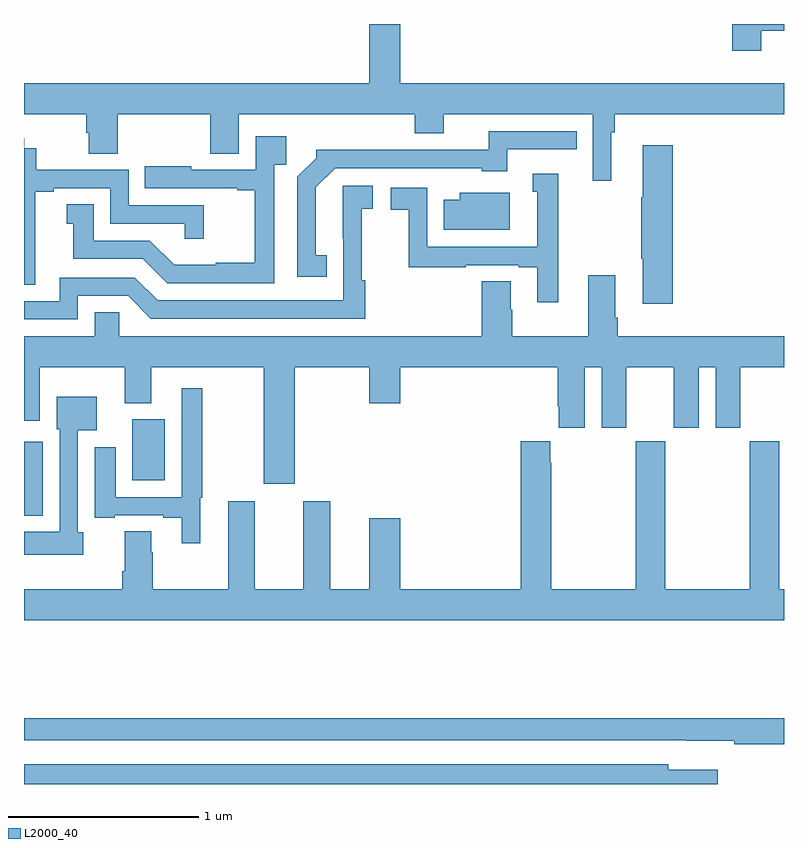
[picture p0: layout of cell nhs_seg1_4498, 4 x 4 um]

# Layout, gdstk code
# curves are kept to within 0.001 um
import gdstk
lib = gdstk.Library(unit=1e-6, precision=1e-09)
def R(c, l, rs):  # rectangles x0, y0, x1, y1
    for r in rs: c.add(gdstk.rectangle(r[:2], r[2:], *l))
def P(c, l, *ps):  # polygons
    for p in ps: c.add(gdstk.Polygon(p, *l))
L2000_40 = (2000, 40)

nhs_seg1_4498 = lib.new_cell('nhs_seg1_4498')
R(nhs_seg1_4498, L2000_40, [(355,557.612,355.099,558.001), (355.571,557.798,355.741,558.118)])
P(nhs_seg1_4498, L2000_40, [(358.09,559.628),(358.109,559.628),(358.109,559.724),(359,559.724),(359,559.888),(356.98,559.888),(356.98,560.199),(356.816,560.199),(356.816,559.888),(355,559.888),(355,559.724),(355.328,559.724),(355.328,559.626),(355.34,559.626),(355.34,559.516),(355.493,559.516),(355.493,559.724),(355.979,559.724),(355.979,559.516),(356.131,559.516),(356.131,559.724),(357.056,559.724),(357.056,559.625),(357.208,559.625),(357.208,559.724),(357.993,559.724),(357.993,559.374),(358.09,559.374)],
  [(358.879,560.163),(359,560.163),(359,560.199),(358.727,560.199),(358.727,560.058),(358.879,560.058)],
  [(356.594,558.983),(356.536,558.983),(356.536,559.339),(356.637,559.44),(357.408,559.44),(357.408,559.424),(357.544,559.424),(357.544,559.539),(357.908,559.539),(357.908,559.635),(357.445,559.635),(357.445,559.536),(356.972,559.536),(356.972,559.538),(356.538,559.538),(356.538,559.493),(356.439,559.394),(356.439,558.87),(356.594,558.87)],
  [(356.316,559.457),(356.381,559.457),(356.381,559.609),(356.22,559.609),(356.22,559.431),(355.879,559.431),(355.879,559.45),(355.636,559.45),(355.636,559.335),(356.123,559.335),(356.123,559.323),(356.215,559.323),(356.215,558.943),(356.009,558.943),(356.009,558.931),(355.79,558.931),(355.662,559.059),(355.366,559.059),(355.366,559.25),(355.226,559.25),(355.226,559.147),(355.259,559.147),(355.259,558.963),(355.626,558.963),(355.755,558.834),(356.316,558.834)],
  [(355.058,558.937),(355.06,558.937),(355.06,559.315),(355.156,559.315),(355.156,559.335),(355.455,559.335),(355.455,559.149),(355.845,559.149),(355.845,559.068),(355.946,559.068),(355.946,559.245),(355.551,559.245),(355.551,559.431),(355.064,559.431),(355.064,559.545),(355.002,559.545),(355.002,559.597),(355,559.597),(355,558.826),(355.058,558.826)],
  [(358.415,559.561),(358.256,559.561),(358.256,559.286),(358.249,559.286),(358.249,558.964),(358.256,558.964),(358.256,558.726),(358.415,558.726)],
  [(357.811,559.411),(357.677,559.411),(357.677,559.317),(357.701,559.317),(357.701,559.026),(357.123,559.026),(357.123,559.338),(356.931,559.338),(356.931,559.222),(357.025,559.222),(357.025,558.918),(357.326,558.918),(357.326,558.93),(357.605,558.93),(357.605,558.918),(357.701,558.918),(357.701,558.735),(357.811,558.735)],
  [(355.284,558.768),(355.548,558.768),(355.668,558.648),(356.795,558.648),(356.795,558.851),(356.778,558.851),(356.778,559.227),(356.836,559.227),(356.836,559.348),(356.678,559.348),(356.679,558.744),(355.704,558.744),(355.584,558.864),(355.188,558.864),(355.188,558.741),(355,558.741),(355,558.645),(355.284,558.645)],
  [(357.556,559.312),(357.293,559.312),(357.293,559.273),(357.208,559.273),(357.208,559.115),(357.556,559.115)],
  [(356.425,558.392),(356.816,558.392),(356.816,558.204),(356.98,558.204),(356.98,558.392),(357.809,558.392),(357.809,558.187),(357.815,558.187),(357.815,558.075),(357.952,558.075),(357.952,558.392),(358.04,558.392),(358.04,558.075),(358.171,558.075),(358.171,558.392),(358.421,558.392),(358.421,558.075),(358.552,558.075),(358.552,558.392),(358.64,558.392),(358.64,558.075),(358.771,558.075),(358.771,558.392),(359,558.392),(359,558.556),(358.124,558.556),(358.124,558.652),(358.111,558.652),(358.111,558.877),(357.971,558.877),(357.971,558.556),(357.57,558.556),(357.57,558.695),(357.562,558.695),(357.562,558.845),(357.41,558.845),(357.41,558.556),(355.5,558.556),(355.5,558.683),(355.373,558.683),(355.373,558.556),(355,558.556),(355,558.111),(355.084,558.111),(355.084,558.392),(355.529,558.392),(355.529,558.203),(355.669,558.203),(355.669,558.392),(356.261,558.392),(356.261,557.778),(356.425,557.778)],
  [(355.927,557.706),(355.939,557.706),(355.939,558.283),(355.83,558.283),(355.83,557.709),(355.483,557.709),(355.483,557.971),(355.373,557.971),(355.373,557.601),(355.477,557.601),(355.477,557.613),(355.733,557.613),(355.733,557.601),(355.829,557.601),(355.829,557.466),(355.927,557.466)],
  [(355.312,557.523),(355.284,557.523),(355.284,558.062),(355.384,558.062),(355.384,558.238),(355.172,558.238),(355.172,558.066),(355.188,558.066),(355.188,557.527),(355,557.527),(355,557.405),(355.312,557.405)],
  [(355.529,557.528),(355.529,557.32),(355.517,557.32),(355.517,557.224),(355,557.224),(355,557.06),(359,557.06),(359,557.224),(358.974,557.224),(358.974,558.004),(358.819,558.004),(358.819,557.224),(358.374,557.224),(358.374,558.004),(358.219,558.004),(358.219,557.224),(357.774,557.224),(357.774,557.891),(357.769,557.891),(357.769,558.004),(357.614,558.004),(357.614,557.224),(356.98,557.224),(356.98,557.599),(356.816,557.599),(356.816,557.224),(356.611,557.224),(356.611,557.686),(356.471,557.686),(356.471,557.224),(356.215,557.224),(356.215,557.686),(356.075,557.686),(356.075,557.224),(355.677,557.224),(355.677,557.42),(355.669,557.42),(355.669,557.528)],
  [(359,556.544),(355,556.544),(355,556.428),(358.486,556.428),(358.486,556.427),(358.738,556.427),(358.738,556.408),(359,556.408)],
  [(358.651,556.273),(358.39,556.273),(358.39,556.302),(355,556.302),(355,556.199),(358.651,556.199)])

lib.write_gds('nhs_seg1_4498.gds')
